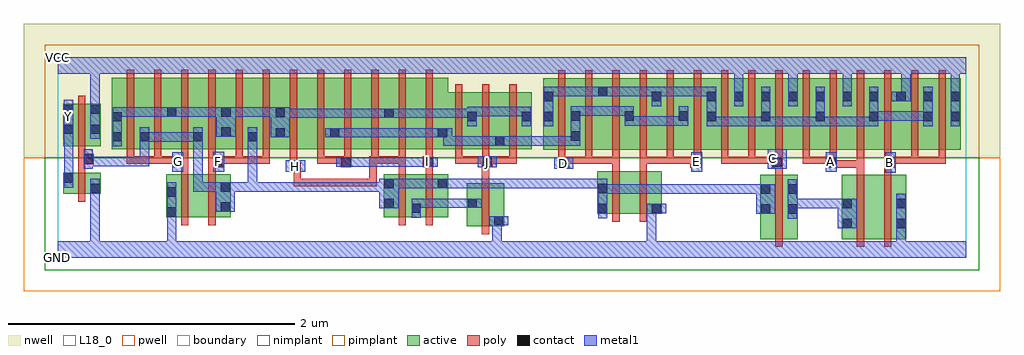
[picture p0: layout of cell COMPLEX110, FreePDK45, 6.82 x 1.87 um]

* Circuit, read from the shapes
.subckt COMPLEX110 A B C D E F G GND H I J VCC Y
M1 GND n1 Y VSUBS nfet w=0.15u l=0.05u
M2 n2 G GND VSUBS nfet w=0.3u l=0.05u
M3 n1 F n2 VSUBS nfet w=0.3u l=0.05u
M4 n3 H n1 VSUBS nfet w=0.3u l=0.05u
M5 n1 I n3 VSUBS nfet w=0.3u l=0.05u
M6 GND J n3 VSUBS nfet w=0.3u l=0.05u
M7 n4 D n1 VSUBS nfet w=0.3u l=0.05u
M8 GND E n4 VSUBS nfet w=0.3u l=0.05u
M9 n5 C n1 VSUBS nfet w=0.45u l=0.05u
M10 n6 A n5 VSUBS nfet w=0.45u l=0.05u
M11 GND B n6 VSUBS nfet w=0.45u l=0.05u
M12 VCC n1 Y n7 pfet w=0.3u l=0.05u
M13 n1 G n8 n7 pfet w=0.5u l=0.05u m=3
M14 n8 F n1 n7 pfet w=0.5u l=0.05u m=3
M15 n9 H n8 n7 pfet w=0.5u l=0.05u
M16 n10 I n9 n7 pfet w=0.5u l=0.05u
M17 n11 I n10 n7 pfet w=0.5u l=0.05u
M18 n8 H n11 n7 pfet w=0.5u l=0.05u
M19 n12 H n8 n7 pfet w=0.5u l=0.05u
M20 n10 I n12 n7 pfet w=0.5u l=0.05u
M21 n8 J n10 n7 pfet w=0.4u l=0.05u m=3
M22 n10 D n13 n7 pfet w=0.5u l=0.05u m=3
M23 n13 E n10 n7 pfet w=0.5u l=0.05u m=3
M24 VCC C n13 n7 pfet w=0.5u l=0.05u m=3
M25 n13 A VCC n7 pfet w=0.5u l=0.05u m=3
M26 VCC B n13 n7 pfet w=0.5u l=0.05u m=3
.ends

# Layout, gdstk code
import gdstk
lib = gdstk.Library(unit=1e-6, precision=1e-09)
def R(c, l, rs):  # rectangles x0, y0, x1, y1
    for r in rs: c.add(gdstk.rectangle(r[:2], r[2:], *l))
def A(c, l, x, y, w, h, nx, ny, dx, dy):  # array of equal rectangles
    R(c, l, [(x+i*dx, y+j*dy, x+i*dx+w, y+j*dy+h) for i in range(nx) for j in range(ny)])
active = (1, 0)
pwell = (2, 0)
nwell = (3, 0)
nimplant = (4, 0)
pimplant = (5, 0)
poly = (9, 0)
contact = (10, 0)
metal1 = (11, 0)
L18_0 = (18, 0)
boundary = (235, 0)

complex110 = lib.new_cell('COMPLEX110')
A(complex110, active, 4.535, 0.755, 0.265, 0.5, 5, 1, 0.19, 0)
A(complex110, active, 5.67, 0.755, 0.265, 0.5, 3, 1, 0.19, 0)
A(complex110, active, 1.52, 0.757, 0.225, 0.5, 3, 1, 0.38, 0)
A(complex110, active, 0.76, 0.807, 0.075, 0.393, 3, 1, 0.38, 0)
A(complex110, active, 4.535, 0.807, 0.075, 0.393, 3, 1, 0.38, 0)
A(complex110, active, 4.725, 0.807, 0.075, 0.448, 3, 1, 0.38, 0)
R(complex110, active, [(4.915,0.13,5.175,0.58), (5.485,0.13,5.71,0.58), (5.71,0.13,5.935,0.58), (5.86,0.182,5.935,0.58), (4.915,0.195,4.99,0.58), (5.1,0.195,5.175,0.58), (5.485,0.195,5.59,0.58), (2.862,0.22,3.122,0.52), (3.047,0.22,3.122,0.52), (0.76,0.282,0.835,0.582), (0.76,0.282,0.985,0.582), (0.985,0.282,1.21,0.582), (1.135,0.282,1.21,0.582), (2.28,0.282,2.355,0.582), (2.28,0.282,2.545,0.582), (2.47,0.282,2.73,0.582), (3.775,0.305,3.85,0.605), (3.775,0.305,4,0.605), (4,0.305,4.225,0.605), (4.15,0.305,4.225,0.605), (2.47,0.307,2.545,0.497), (2.655,0.33,2.73,0.582), (2.862,0.342,2.937,0.52), (0.04,0.445,0.3,0.595), (0.225,0.445,0.3,0.595), (0.04,0.492,0.115,0.595), (3.395,0.755,3.66,1.255), (3.395,0.755,3.47,1.2), (3.585,0.755,3.85,1.255), (3.775,0.755,4.035,1.255), (3.96,0.755,4.225,1.255), (4.15,0.755,4.415,1.255), (4.34,0.755,4.61,1.255), (5.485,0.755,5.745,1.255), (6.24,0.755,6.315,1.255), (0.38,0.757,0.645,1.257), (0.38,0.757,0.455,1.2), (0.57,0.757,0.835,1.257), (0.76,0.757,1.02,1.257), (0.945,0.757,1.215,1.257), (1.14,0.757,1.4,1.257), (1.325,0.757,1.595,1.257), (1.745,0.757,1.975,1.257), (1.9,0.757,1.975,1.07), (2.125,0.757,2.355,1.257), (2.505,0.757,2.73,1.257), (2.655,0.757,2.935,1.157), (2.86,0.757,3.13,1.157), (3.055,0.757,3.315,1.157), (3.24,0.757,3.315,1.157), (3.585,0.757,3.66,1.07), (3.055,0.767,3.13,1.07), (2.655,0.77,2.73,1.07), (0.04,0.777,0.115,1.077), (0.04,0.777,0.3,1.077), (0.225,0.777,0.3,1.077), (0.945,0.802,1.02,1.07), (0.57,0.807,0.645,1.07), (1.325,0.807,1.4,1.07), (2.28,0.807,2.355,1.2), (3.775,0.807,3.85,1.2), (3.96,0.807,4.035,1.07), (4.15,0.807,4.225,1.2), (4.34,0.807,4.415,1.07), (5.67,0.807,5.745,1.2), (5.86,0.807,5.935,1.255), (6.05,0.807,6.125,1.2), (2.86,0.907,2.935,1.155)])
R(complex110, pwell, [(-0.235,-0.235,6.59,0.7)])
R(complex110, nwell, [(-0.235,0.7,6.59,1.635)])
R(complex110, nimplant, [(-0.09,-0.09,6.445,0.7)])
R(complex110, pimplant, [(-0.09,0.7,6.445,1.49)])
A(complex110, poly, 3.5, 0.655, 0.05, 0.095, 11, 1, 0.19, 0)
A(complex110, poly, 3.69, 0.655, 0.05, 0.05, 3, 1, 0.19, 0)
A(complex110, poly, 5.78, 0.655, 0.05, 0.095, 3, 1, 0.19, 0)
A(complex110, poly, 0.485, 0.657, 0.05, 0.095, 6, 1, 0.19, 0)
A(complex110, poly, 1.815, 0.657, 0.05, 0.095, 5, 1, 0.19, 0)
A(complex110, poly, 2.78, 0.657, 0.05, 0.095, 3, 1, 0.19, 0)
A(complex110, poly, 3.5, 0.7, 0.05, 0.61, 15, 1, 0.19, 0)
A(complex110, poly, 0.485, 0.702, 0.05, 0.61, 12, 1, 0.19, 0)
A(complex110, poly, 2.78, 0.702, 0.05, 0.51, 3, 1, 0.19, 0)
R(complex110, poly, [(5.02,0.075,5.07,0.635), (5.59,0.075,5.64,0.635), (5.78,0.075,5.83,0.635), (2.967,0.165,3.017,0.575), (0.865,0.227,0.915,0.637), (1.055,0.227,1.105,0.637), (2.385,0.227,2.435,0.637), (2.575,0.227,2.625,0.637), (3.88,0.25,3.93,0.66), (4.07,0.25,4.12,0.66), (0.145,0.39,0.195,0.65), (1.652,0.5,1.702,0.55), (1.652,0.5,1.702,0.55), (1.652,0.5,1.702,0.55), (1.652,0.5,1.897,0.55), (1.652,0.5,1.702,0.647), (1.847,0.5,1.897,0.55), (1.847,0.5,2.03,0.55), (1.98,0.5,2.03,0.55), (1.98,0.5,2.03,0.55), (1.98,0.5,2.03,0.55), (1.98,0.5,2.23,0.55), (2.18,0.5,2.23,0.55), (2.18,0.5,2.23,0.55), (2.18,0.5,2.23,0.55), (2.18,0.5,2.23,0.55), (2.18,0.5,2.23,0.55), (2.18,0.5,2.23,0.707), (2.967,0.525,3.017,0.682), (5.02,0.585,5.07,0.68), (5.59,0.585,5.64,0.68), (5.78,0.585,5.83,0.68), (0.865,0.587,0.915,0.682), (1.055,0.587,1.105,0.682), (2.385,0.587,2.435,0.707), (2.575,0.587,2.625,0.682), (1.625,0.597,1.702,0.672), (1.652,0.597,1.702,0.647), (1.652,0.597,1.702,0.647), (0.145,0.6,0.195,0.702), (3.88,0.61,3.93,0.705), (4.07,0.61,4.12,0.705), (1.625,0.622,1.675,0.752), (3.5,0.63,3.577,0.705), (4.425,0.63,4.5,0.705), (4.995,0.63,5.07,0.705), (5.375,0.63,5.45,0.705), (5.4,0.63,5.64,0.68), (5.59,0.63,5.64,0.68), (5.59,0.63,5.64,0.68), (5.59,0.63,5.64,0.68), (5.59,0.63,5.64,0.75), (5.78,0.63,5.857,0.705), (0.807,0.632,0.915,0.707), (1.055,0.632,1.157,0.707), (1.98,0.632,2.055,0.707), (2.552,0.632,2.627,0.707), (2.967,0.632,3.042,0.707), (0.145,0.652,0.252,0.727), (3.527,0.655,3.577,0.705), (3.527,0.655,3.577,0.705), (3.527,0.655,3.74,0.705), (3.69,0.655,3.74,0.705), (3.69,0.655,3.74,0.705), (3.69,0.655,3.93,0.705), (4.07,0.655,4.12,0.705), (4.07,0.655,4.12,0.705), (4.07,0.655,4.31,0.705), (4.26,0.655,4.31,0.705), (4.26,0.655,4.31,0.705), (4.26,0.655,4.31,0.705), (4.26,0.655,4.475,0.705), (4.64,0.655,4.69,0.705), (4.64,0.655,4.69,0.705), (4.64,0.655,4.69,0.705), (4.64,0.655,4.88,0.705), (4.83,0.655,4.88,0.705), (4.83,0.655,4.88,0.705), (4.83,0.655,4.88,0.705), (4.83,0.655,5.045,0.705), (5.21,0.655,5.26,0.705), (5.21,0.655,5.26,0.705), (5.21,0.655,5.26,0.705), (5.21,0.655,5.425,0.705), (5.807,0.655,5.857,0.705), (5.807,0.655,5.857,0.705), (5.807,0.655,6.02,0.705), (5.97,0.655,6.02,0.705), (5.97,0.655,6.21,0.705), (6.16,0.655,6.21,0.705), (6.16,0.655,6.21,0.705), (6.16,0.655,6.21,0.705), (0.485,0.657,0.535,0.707), (0.485,0.657,0.535,0.707), (0.485,0.657,0.535,0.707), (0.485,0.657,0.725,0.707), (0.675,0.657,0.725,0.707), (0.675,0.657,0.857,0.707), (0.807,0.657,0.857,0.707), (0.807,0.657,0.857,0.707), (1.107,0.657,1.157,0.707), (1.107,0.657,1.157,0.707), (1.107,0.657,1.295,0.707), (1.245,0.657,1.295,0.707), (1.245,0.657,1.485,0.707), (1.435,0.657,1.485,0.707), (1.435,0.657,1.485,0.707), (1.435,0.657,1.485,0.707), (1.815,0.657,1.865,0.707), (1.815,0.657,1.865,0.707), (1.815,0.657,1.865,0.707), (1.815,0.657,2.03,0.707), (2.18,0.657,2.245,0.707), (2.195,0.657,2.435,0.707), (2.385,0.657,2.435,0.707), (2.385,0.657,2.435,0.707), (2.385,0.657,2.435,0.707), (2.78,0.657,2.83,0.707), (2.78,0.657,3.017,0.707), (2.967,0.657,3.017,0.707), (2.967,0.657,3.017,0.707), (2.992,0.657,3.21,0.707), (3.16,0.657,3.21,0.707), (3.16,0.657,3.21,0.707), (3.16,0.657,3.21,0.707), (0.145,0.677,0.195,0.772), (0.145,0.722,0.195,1.132)])
A(complex110, contact, 4.54, 0.955, 0.065, 0.065, 3, 1, 0.38, 0)
A(complex110, contact, 4.54, 1.095, 0.065, 0.065, 6, 1, 0.19, 0)
A(complex110, contact, 5.675, 1.095, 0.065, 0.065, 4, 1, 0.19, 0)
R(complex110, contact, [(5.49,0.205,5.555,0.27), (5.865,0.205,5.93,0.27), (3.052,0.225,3.117,0.29), (0.765,0.287,0.83,0.352), (4.92,0.307,4.985,0.372), (5.105,0.307,5.17,0.372), (3.78,0.31,3.845,0.375), (4.155,0.31,4.22,0.375), (2.475,0.312,2.54,0.377), (1.14,0.322,1.205,0.387), (2.285,0.345,2.35,0.41), (5.49,0.345,5.555,0.41), (5.865,0.345,5.93,0.41), (2.867,0.347,2.932,0.412), (0.765,0.427,0.83,0.492), (4.92,0.447,4.985,0.512), (5.105,0.447,5.17,0.512), (0.23,0.45,0.295,0.515), (3.78,0.45,3.845,0.515), (1.14,0.462,1.205,0.527), (2.285,0.485,2.35,0.55), (2.66,0.485,2.725,0.55), (0.045,0.525,0.11,0.59), (1.632,0.602,1.697,0.667), (3.507,0.635,3.572,0.7), (4.43,0.635,4.495,0.7), (5,0.635,5.065,0.7), (5.38,0.635,5.445,0.7), (5.787,0.635,5.852,0.7), (0.812,0.637,0.877,0.702), (1.087,0.637,1.152,0.702), (1.985,0.637,2.05,0.702), (2.557,0.637,2.622,0.702), (2.972,0.637,3.037,0.702), (0.182,0.657,0.247,0.722), (3.06,0.782,3.125,0.847), (0.385,0.812,0.45,0.877), (0.575,0.812,0.64,0.877), (0.95,0.812,1.015,0.877), (1.33,0.812,1.395,0.877), (3.59,0.817,3.655,0.882), (1.525,0.84,1.59,0.905), (1.905,0.84,1.97,0.905), (2.66,0.84,2.725,0.905), (1.145,0.845,1.21,0.91), (0.045,0.865,0.11,0.93), (0.23,0.865,0.295,0.93), (0.385,0.952,0.45,1.017), (2.865,0.955,2.93,1.02), (3.245,0.955,3.31,1.02), (3.4,0.955,3.465,1.02), (5.675,0.955,5.74,1.02), (6.055,0.955,6.12,1.02), (6.245,0.955,6.31,1.02), (3.59,0.957,3.655,1.022), (3.965,0.957,4.03,1.022), (4.345,0.957,4.41,1.022), (2.285,0.977,2.35,1.042), (1.525,0.98,1.59,1.045), (0.765,0.985,0.83,1.05), (1.145,0.985,1.21,1.05), (0.045,1.005,0.11,1.07), (0.23,1.005,0.295,1.07), (3.4,1.095,3.465,1.16), (4.155,1.095,4.22,1.16), (3.78,1.13,3.845,1.195)])
A(complex110, metal1, 4.54, 0.92, 0.065, 0.275, 3, 1, 0.38, 0)
A(complex110, metal1, 4.73, 1.06, 0.065, 0.135, 3, 1, 0.38, 0)
A(complex110, metal1, 4.73, 1.13, 0.065, 0.22, 3, 1, 0.38, 0)
R(complex110, metal1, [(0,0,6.355,0.115), (0.23,0.05,0.295,0.48), (0.765,0.05,0.83,0.115), (0.765,0.05,0.83,0.115), (0.765,0.05,0.83,0.115), (0.765,0.05,0.83,0.115), (0.765,0.05,0.83,0.317), (3.04,0.05,3.105,0.115), (3.04,0.05,3.105,0.115), (3.04,0.05,3.105,0.29), (4.12,0.05,4.185,0.115), (4.12,0.05,4.185,0.115), (4.12,0.05,4.185,0.375), (5.865,0.05,5.93,0.235), (5.865,0.17,5.93,0.445), (5.865,0.17,5.93,0.235), (5.865,0.17,5.93,0.235), (5.455,0.205,5.59,0.41), (3.017,0.225,3.152,0.29), (3.04,0.225,3.105,0.29), (3.04,0.225,3.105,0.29), (0.765,0.252,0.83,0.527), (5.105,0.272,5.17,0.547), (3.78,0.275,3.845,0.55), (2.475,0.277,2.54,0.412), (4.885,0.307,5.02,0.512), (4.12,0.31,4.185,0.375), (4.12,0.31,4.185,0.375), (4.12,0.31,4.255,0.375), (1.105,0.322,1.24,0.527), (2.25,0.345,2.385,0.55), (5.105,0.345,5.17,0.41), (5.105,0.345,5.17,0.41), (5.105,0.345,5.307,0.41), (5.242,0.345,5.307,0.41), (5.242,0.345,5.307,0.41), (5.242,0.345,5.307,0.41), (5.242,0.345,5.52,0.41), (2.475,0.347,2.54,0.412), (2.475,0.347,2.54,0.412), (2.475,0.347,2.76,0.412), (2.695,0.347,2.76,0.412), (2.695,0.347,2.76,0.412), (2.695,0.347,2.76,0.412), (2.695,0.347,2.897,0.412), (2.832,0.347,2.967,0.412), (0.23,0.415,0.295,0.48), (0.23,0.415,0.295,0.48), (0.23,0.415,0.295,0.48), (0.23,0.415,0.295,0.48), (0.23,0.415,0.295,0.48), (0.23,0.415,0.295,0.48), (0.23,0.415,0.295,0.55), (3.78,0.447,3.845,0.512), (3.78,0.447,3.845,0.512), (3.78,0.447,4.03,0.512), (3.965,0.447,4.03,0.512), (3.965,0.447,4.03,0.512), (3.965,0.447,4.03,0.512), (3.965,0.447,4.22,0.512), (4.155,0.447,4.22,0.512), (4.155,0.447,4.357,0.512), (4.292,0.447,4.357,0.512), (4.292,0.447,4.357,0.512), (4.292,0.447,4.357,0.512), (4.292,0.447,4.537,0.512), (4.472,0.447,4.537,0.512), (4.472,0.447,4.537,0.512), (4.472,0.447,4.537,0.512), (4.472,0.447,4.675,0.512), (4.61,0.447,4.675,0.512), (4.61,0.447,4.812,0.512), (4.747,0.447,4.812,0.512), (4.747,0.447,4.812,0.512), (4.747,0.447,4.812,0.512), (4.747,0.447,4.95,0.512), (0.95,0.462,1.015,0.527), (0.95,0.462,1.015,0.527), (0.95,0.462,1.015,0.527), (0.95,0.462,1.015,0.527), (0.95,0.462,1.015,0.527), (0.95,0.462,1.015,0.842), (0.95,0.462,1.17,0.527), (1.175,0.462,1.24,0.527), (1.175,0.462,1.24,0.527), (1.175,0.462,1.395,0.527), (1.33,0.462,1.395,0.527), (1.33,0.462,1.395,0.527), (1.33,0.462,1.395,0.527), (1.33,0.462,1.395,0.527), (1.33,0.462,1.395,0.527), (1.33,0.462,1.632,0.527), (1.33,0.462,1.395,0.842), (1.567,0.462,1.632,0.527), (1.567,0.462,1.632,0.527), (1.567,0.462,1.632,0.527), (1.567,0.462,1.77,0.527), (1.705,0.462,1.77,0.527), (1.705,0.462,1.77,0.527), (1.705,0.462,1.77,0.527), (1.705,0.462,1.907,0.527), (1.842,0.462,1.907,0.527), (1.842,0.462,1.907,0.527), (1.842,0.462,1.907,0.527), (1.842,0.462,2.177,0.527), (2.112,0.462,2.177,0.527), (2.112,0.462,2.265,0.527), (2.2,0.462,2.265,0.527), (2.2,0.462,2.315,0.527), (2.32,0.485,2.402,0.55), (2.337,0.485,2.402,0.55), (2.337,0.485,2.552,0.55), (2.487,0.485,2.552,0.55), (2.487,0.485,2.552,0.55), (2.487,0.485,2.552,0.55), (2.487,0.485,2.69,0.55), (2.625,0.485,2.76,0.55), (2.695,0.485,2.76,0.55), (2.695,0.485,2.76,0.55), (2.695,0.485,2.945,0.55), (2.88,0.485,2.945,0.55), (2.88,0.485,2.945,0.55), (2.88,0.485,2.945,0.55), (2.88,0.485,3.172,0.55), (3.107,0.485,3.172,0.55), (3.107,0.485,3.172,0.55), (3.107,0.485,3.172,0.55), (3.107,0.485,3.31,0.55), (3.245,0.485,3.31,0.55), (3.245,0.485,3.31,0.55), (3.245,0.485,3.31,0.55), (3.245,0.485,3.447,0.55), (3.382,0.485,3.447,0.55), (3.382,0.485,3.672,0.55), (3.607,0.485,3.672,0.55), (3.607,0.485,3.672,0.55), (3.607,0.485,3.672,0.55), (3.607,0.485,3.845,0.55), (0.045,0.49,0.11,0.625), (0.045,0.56,0.11,0.625), (0.045,0.56,0.11,0.687), (5.787,0.595,5.862,0.735), (0.8,0.6,0.877,0.737), (4.43,0.6,4.507,0.737), (5.37,0.6,5.447,0.737), (1.087,0.602,1.165,0.74), (1.597,0.602,1.732,0.68), (0.045,0.622,0.11,0.687), (0.045,0.622,0.11,0.687), (0.045,0.622,0.11,0.687), (0.045,0.622,0.11,0.687), (0.045,0.622,0.11,0.895), (0.182,0.622,0.247,0.757), (3.472,0.622,3.607,0.7), (4.965,0.622,5.1,0.757), (2.937,0.632,3.072,0.71), (1.95,0.637,2.085,0.702), (2.02,0.637,2.177,0.702), (2.112,0.637,2.177,0.702), (2.112,0.637,2.265,0.702), (2.2,0.637,2.265,0.702), (2.2,0.637,2.402,0.702), (2.337,0.637,2.402,0.702), (2.337,0.637,2.402,0.702), (2.337,0.637,2.402,0.702), (2.337,0.637,2.552,0.702), (2.487,0.637,2.552,0.702), (2.487,0.637,2.587,0.702), (2.522,0.637,2.657,0.702), (0.182,0.64,0.247,0.705), (0.182,0.64,0.247,0.705), (0.182,0.64,0.385,0.705), (0.32,0.64,0.385,0.705), (0.32,0.64,0.587,0.705), (0.522,0.64,0.587,0.705), (0.522,0.64,0.64,0.705), (0.575,0.64,0.64,0.705), (0.575,0.64,0.64,0.842), (0.385,0.777,0.45,1.052), (0.575,0.777,0.64,0.912), (0.95,0.777,1.015,0.912), (1.33,0.777,1.395,0.912), (2.695,0.782,2.897,0.847), (2.695,0.782,2.76,0.905), (2.832,0.782,2.897,0.847), (2.832,0.782,2.897,0.847), (2.832,0.782,2.897,0.847), (2.832,0.782,3.09,0.847), (3.025,0.782,3.16,0.847), (3.095,0.782,3.16,0.847), (3.095,0.782,3.16,0.847), (3.095,0.782,3.31,0.847), (3.245,0.782,3.31,0.847), (3.245,0.782,3.447,0.847), (3.382,0.782,3.447,0.847), (3.382,0.782,3.447,0.847), (3.382,0.782,3.447,0.847), (3.382,0.782,3.655,0.847), (3.59,0.782,3.655,1.057), (0.575,0.81,0.725,0.875), (0.66,0.81,0.725,0.875), (0.66,0.81,0.877,0.875), (0.812,0.81,0.877,0.875), (0.812,0.81,0.877,0.875), (0.812,0.81,0.877,0.875), (0.812,0.81,1.015,0.875), (0.042,0.83,0.11,1.105), (0.23,0.83,0.295,1.105), (1.49,0.84,1.625,1.05), (1.87,0.84,2.005,0.905), (1.94,0.84,2.005,0.905), (1.94,0.84,2.005,0.905), (1.94,0.84,2.177,0.905), (2.112,0.84,2.177,0.905), (2.112,0.84,2.265,0.905), (2.2,0.84,2.265,0.905), (2.2,0.84,2.402,0.905), (2.337,0.84,2.402,0.905), (2.337,0.84,2.402,0.905), (2.337,0.84,2.402,0.905), (2.337,0.84,2.552,0.905), (2.487,0.84,2.552,0.905), (2.487,0.84,2.552,0.905), (2.487,0.84,2.552,0.905), (2.487,0.84,2.69,0.905), (2.625,0.84,2.76,0.905), (2.695,0.84,2.76,0.905), (1.11,0.845,1.245,1.05), (2.865,0.92,2.93,1.055), (3.245,0.92,3.31,1.055), (3.4,0.92,3.465,1.195), (4.54,0.92,4.675,0.985), (4.61,0.92,4.675,0.985), (4.61,0.92,4.812,0.985), (4.747,0.92,4.812,0.985), (4.747,0.92,4.812,0.985), (4.747,0.92,4.812,0.985), (4.747,0.92,4.985,0.985), (4.92,0.92,4.985,0.985), (4.92,0.92,4.985,0.985), (4.92,0.92,5.17,0.985), (5.105,0.92,5.17,0.985), (5.105,0.92,5.17,0.985), (5.105,0.92,5.17,0.985), (5.105,0.92,5.365,0.985), (5.3,0.92,5.365,0.985), (5.3,0.92,5.365,0.985), (5.3,0.92,5.602,0.985), (5.537,0.92,5.602,0.985), (5.537,0.92,5.602,0.985), (5.537,0.92,5.602,0.985), (5.537,0.92,5.74,0.985), (5.675,0.92,5.74,1.195), (6.055,0.92,6.12,1.195), (6.245,0.92,6.31,1.195), (3.965,0.922,4.03,0.987), (3.965,0.922,4.03,0.987), (3.965,0.922,4.03,1.057), (3.965,0.922,4.22,0.987), (4.155,0.922,4.22,0.987), (4.155,0.922,4.22,0.987), (4.155,0.922,4.22,0.987), (4.155,0.922,4.41,0.987), (4.345,0.922,4.41,1.057), (5.675,0.957,5.877,1.022), (5.812,0.957,5.877,1.022), (5.812,0.957,5.877,1.022), (5.812,0.957,5.877,1.022), (5.812,0.957,6.12,1.022), (6.055,0.957,6.12,1.022), (6.055,0.957,6.12,1.022), (1.56,0.977,1.625,1.042), (1.56,0.977,1.625,1.042), (1.56,0.977,1.77,1.042), (1.705,0.977,1.77,1.042), (1.705,0.977,1.77,1.042), (1.705,0.977,1.77,1.042), (1.705,0.977,1.907,1.042), (1.842,0.977,1.907,1.042), (1.842,0.977,1.907,1.042), (1.842,0.977,1.907,1.042), (1.842,0.977,2.177,1.042), (2.112,0.977,2.177,1.042), (2.112,0.977,2.265,1.042), (2.2,0.977,2.265,1.042), (2.2,0.977,2.315,1.042), (2.25,0.977,2.385,1.042), (2.32,0.977,2.402,1.042), (2.337,0.977,2.402,1.042), (2.337,0.977,2.552,1.042), (2.487,0.977,2.552,1.042), (2.487,0.977,2.552,1.042), (2.487,0.977,2.552,1.042), (2.487,0.977,2.76,1.042), (2.695,0.977,2.76,1.042), (2.695,0.977,2.76,1.042), (2.695,0.977,2.76,1.042), (2.695,0.977,2.93,1.042), (0.385,0.985,0.587,1.05), (0.522,0.985,0.587,1.05), (0.522,0.985,0.587,1.05), (0.522,0.985,0.587,1.05), (0.522,0.985,0.725,1.05), (0.66,0.985,0.725,1.05), (0.66,0.985,0.795,1.05), (0.73,0.985,0.865,1.05), (0.8,0.985,0.865,1.05), (0.8,0.985,0.865,1.05), (0.8,0.985,1.032,1.05), (0.967,0.985,1.032,1.05), (0.967,0.985,1.032,1.05), (0.967,0.985,1.032,1.05), (0.967,0.985,1.175,1.05), (1.18,0.985,1.245,1.05), (1.18,0.985,1.245,1.05), (1.18,0.985,1.417,1.05), (1.352,0.985,1.417,1.05), (1.352,0.985,1.417,1.05), (1.352,0.985,1.417,1.05), (1.352,0.985,1.555,1.05), (2.865,0.99,2.93,1.055), (2.865,0.99,2.93,1.055), (2.865,0.99,3.172,1.055), (3.107,0.99,3.172,1.055), (3.107,0.99,3.172,1.055), (3.107,0.99,3.172,1.055), (3.107,0.99,3.31,1.055), (3.59,0.992,3.655,1.057), (3.59,0.992,3.655,1.057), (3.59,0.992,3.655,1.057), (3.59,0.992,3.655,1.057), (3.59,0.992,3.892,1.057), (3.827,0.992,3.892,1.057), (3.827,0.992,3.892,1.057), (3.827,0.992,3.892,1.057), (3.827,0.992,4.03,1.057), (0.23,1.04,0.295,1.105), (0.23,1.04,0.295,1.105), (0.23,1.04,0.295,1.35), (4.155,1.06,4.22,1.195), (5.83,1.095,5.965,1.16), (5.9,1.095,5.965,1.35), (3.4,1.13,3.465,1.195), (3.4,1.13,3.465,1.195), (3.4,1.13,3.672,1.195), (3.607,1.13,3.672,1.195), (3.607,1.13,3.672,1.195), (3.607,1.13,3.672,1.195), (3.607,1.13,3.81,1.195), (3.745,1.13,3.88,1.195), (3.815,1.13,3.88,1.195), (3.815,1.13,3.88,1.195), (3.815,1.13,4.03,1.195), (3.965,1.13,4.03,1.195), (3.965,1.13,4.03,1.195), (3.965,1.13,4.03,1.195), (3.965,1.13,4.22,1.195), (4.155,1.13,4.357,1.195), (4.292,1.13,4.357,1.195), (4.292,1.13,4.357,1.195), (4.292,1.13,4.357,1.195), (4.292,1.13,4.495,1.195), (4.43,1.13,4.495,1.195), (4.43,1.13,4.605,1.195), (6.245,1.13,6.31,1.35), (0,1.285,6.355,1.4)])
A(complex110, L18_0, 4.73, 1.06, 0.065, 0.135, 3, 1, 0.38, 0)
A(complex110, L18_0, 4.73, 1.13, 0.065, 0.22, 3, 1, 0.38, 0)
R(complex110, L18_0, [(0,0,6.355,0.115), (0.23,0.05,0.295,0.48), (0.765,0.05,0.83,0.115), (0.765,0.05,0.83,0.115), (0.765,0.05,0.83,0.115), (0.765,0.05,0.83,0.115), (0.765,0.05,0.83,0.317), (3.04,0.05,3.105,0.115), (3.04,0.05,3.105,0.115), (3.04,0.05,3.105,0.29), (4.12,0.05,4.185,0.115), (4.12,0.05,4.185,0.115), (4.12,0.05,4.185,0.375), (5.865,0.05,5.93,0.235), (5.865,0.17,5.93,0.235), (5.865,0.17,5.93,0.235), (5.865,0.17,5.93,0.445), (3.017,0.225,3.152,0.29), (3.04,0.225,3.105,0.29), (3.04,0.225,3.105,0.29), (0.765,0.252,0.83,0.527), (4.12,0.31,4.185,0.375), (4.12,0.31,4.185,0.375), (4.12,0.31,4.255,0.375), (0.23,0.415,0.295,0.55), (0.23,0.415,0.295,0.48), (0.23,0.415,0.295,0.48), (0.23,0.415,0.295,0.48), (0.23,0.415,0.295,0.48), (0.23,0.415,0.295,0.48), (0.23,0.415,0.295,0.48), (0.045,0.49,0.11,0.625), (0.045,0.56,0.11,0.687), (0.045,0.56,0.11,0.625), (5.787,0.595,5.862,0.735), (0.8,0.6,0.877,0.737), (4.43,0.6,4.507,0.737), (5.37,0.6,5.447,0.737), (1.087,0.602,1.165,0.74), (1.597,0.602,1.732,0.68), (1.632,0.602,1.697,0.667), (0.045,0.622,0.11,0.687), (0.045,0.622,0.11,0.687), (0.045,0.622,0.11,0.687), (0.045,0.622,0.11,0.687), (0.045,0.622,0.11,0.895), (3.472,0.622,3.607,0.7), (3.507,0.622,3.572,0.687), (4.965,0.622,5.1,0.757), (2.937,0.632,3.072,0.71), (2.972,0.632,3.037,0.697), (5.787,0.632,5.852,0.697), (0.812,0.637,0.877,0.702), (1.092,0.637,1.157,0.702), (1.95,0.637,2.085,0.702), (2.02,0.637,2.177,0.702), (2.112,0.637,2.177,0.702), (2.112,0.637,2.265,0.702), (2.2,0.637,2.265,0.702), (2.2,0.637,2.402,0.702), (2.337,0.637,2.402,0.702), (2.337,0.637,2.402,0.702), (2.337,0.637,2.402,0.702), (2.337,0.637,2.552,0.702), (2.487,0.637,2.552,0.702), (2.487,0.637,2.587,0.702), (2.522,0.637,2.657,0.702), (2.557,0.637,2.622,0.702), (4.432,0.637,4.497,0.702), (5.372,0.637,5.437,0.702), (4.967,0.657,5.032,0.722), (0.042,0.83,0.11,1.105), (0.23,0.83,0.295,1.105), (6.245,0.92,6.31,1.195), (0.042,0.957,0.107,1.022), (0.23,1.04,0.295,1.105), (0.23,1.04,0.295,1.105), (0.23,1.04,0.295,1.35), (5.83,1.095,5.965,1.16), (5.9,1.095,5.965,1.35), (6.245,1.13,6.31,1.35), (0,1.285,6.355,1.4)])
R(complex110, boundary, [(0,0,6.355,1.4)])
complex110.add(gdstk.Label('A', (5.405,0.67), layer=11, texttype=0))
complex110.add(gdstk.Label('B', (5.82,0.665), layer=11, texttype=0))
complex110.add(gdstk.Label('C', (5,0.69), layer=11, texttype=0))
complex110.add(gdstk.Label('D', (3.54,0.655), layer=11, texttype=0))
complex110.add(gdstk.Label('E', (4.465,0.67), layer=11, texttype=0))
complex110.add(gdstk.Label('F', (1.125,0.67), layer=11, texttype=0))
complex110.add(gdstk.Label('G', (0.845,0.67), layer=11, texttype=0))
complex110.add(gdstk.Label('H', (1.665,0.635), layer=11, texttype=0))
complex110.add(gdstk.Label('I', (2.59,0.67), layer=11, texttype=0))
complex110.add(gdstk.Label('J', (3.005,0.665), layer=11, texttype=0))
complex110.add(gdstk.Label('Y', (0.075,0.99), layer=11, texttype=0))
complex110.add(gdstk.Label('VCC', (0,1.4), layer=11, texttype=0))
complex110.add(gdstk.Label('GND', (0,0), layer=11, texttype=0))

lib.write_gds('COMPLEX110.gds')
